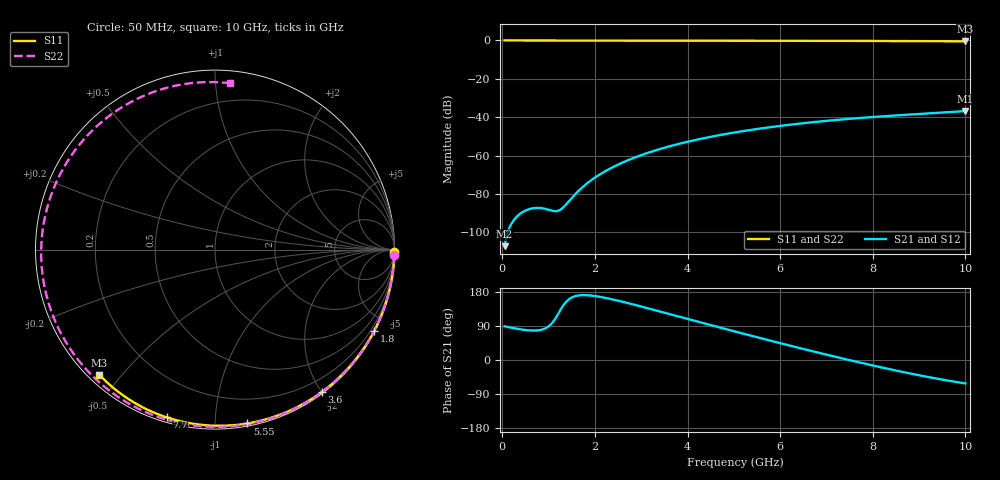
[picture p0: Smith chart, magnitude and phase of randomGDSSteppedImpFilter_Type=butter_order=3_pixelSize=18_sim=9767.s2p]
! freq	dB(S11)	phase(S11)	dB(S12)	phase(S12)
!  dB(S21)	phase(S21)	dB(S22)	phase(S22)
!S-par simulation data
#  GHz  S  DB  R 50
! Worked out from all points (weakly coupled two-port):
!   200 points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, 50 MHz to 10 GHz, reference 50 ohm
!   highest |S21| = -36.78 dB at 10 GHz (marker M1); lowest = -107.1 dB at 50 MHz (marker M2)
!   lowest |S11| = -0.4 dB at 10 GHz (marker M3), VSWR 38.64, Z = 1.54 - j21.9 ohm
!   |S11| at or under -10 dB: nowhere
!   |S22| runs from -0.6 to 0.0 dB; largest |S21 - S12| = 0
!   S11 on the Smith chart (normalised r, x): 50 MHz: open; 1.8 GHz: 0.04, -4.13; 3.6 GHz: 0.02, -2.00; 5.55 GHz: 0.02, -1.20; 7.7 GHz: 0.02, -0.75; 10 GHz: 0.03, -0.44
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0.05  -0.00 -0.8  -107.15 89.0  -107.15 89.0  -0.00 -1.8
0.4  -0.01 -6.1  -89.99 80.8  -89.99 80.8  -0.02 -14.2
0.75  -0.01 -11.4  -87.21 78.0  -87.21 78.0  -0.03 -26.5
1.15  -0.02 -17.5  -88.96 110.0  -88.96 110.0  -0.05 -40.2
1.55  -0.03 -23.5  -80.73 167.5  -80.73 167.5  -0.07 -53.5
1.6  -0.03 -24.2  -79.47 169.3  -79.47 169.3  -0.07 -55.2
1.75  -0.03 -26.5  -76.06 171.2  -76.06 171.2  -0.07 -60.0
1.8  -0.03 -27.2  -75.04 171.2  -75.04 171.2  -0.08 -61.6
2.1  -0.04 -31.7  -69.87 166.8  -69.87 166.8  -0.09 -71.1
2.45  -0.05 -36.8  -65.24 157.9  -65.24 157.9  -0.10 -81.8
2.9  -0.06 -43.3  -60.61 144.3  -60.61 144.3  -0.11 -94.9
3.4  -0.07 -50.4  -56.59 128.1  -56.59 128.1  -0.13 -108.9
3.6  -0.07 -53.2  -55.22 121.6  -55.22 121.6  -0.14 -114.2
4.35  -0.09 -63.6  -50.91 97.0  -50.91 97.0  -0.17 -133.6
5.05  -0.11 -72.9  -47.80 74.4  -47.80 74.4  -0.20 -150.8
5.55  -0.13 -79.5  -45.95 58.5  -45.95 58.5  -0.23 -162.7
6.1  -0.15 -86.5  -44.20 41.4  -44.20 41.4  -0.27 -175.7
6.7  -0.18 -94.0  -42.58 23.1  -42.58 23.1  -0.31 170.2
7.7  -0.24 -106.1  -40.42 -6.1  -40.42 -6.1  -0.39 146.1
8.35  -0.29 -113.7  -39.29 -23.9  -39.29 -23.9  -0.44 129.8
9.2  -0.37 -123.6  -38.01 -45.0  -38.01 -45.0  -0.53 107.4
10  -0.45 -132.7  -36.78 -61.9  -36.78 -61.9  -0.63 85.0
